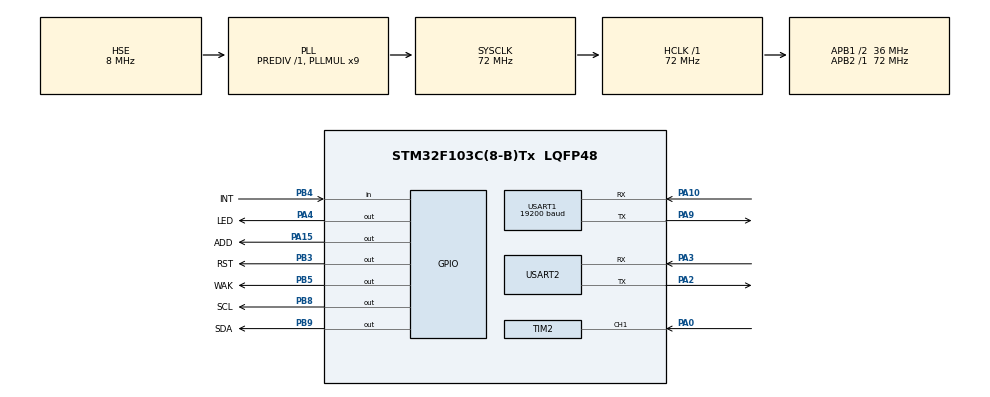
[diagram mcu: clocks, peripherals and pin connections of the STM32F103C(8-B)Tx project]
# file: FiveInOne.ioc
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FREERTOS.Tasks01=initTask,0,128,StartInitTask,Default,NULL,Dynamic,NULL,NULL
Mcu.Family=STM32F1
Mcu.Name=STM32F103C(8-B)Tx
Mcu.Package=LQFP48
NVIC.PriorityGroup=NVIC_PRIORITYGROUP_4
NVIC.TIM4_IRQn=true\:0\:0\:false\:false\:true\:false\:false
NVIC.TimeBase=TIM4_IRQn
NVIC.TimeBaseIP=TIM4
NVIC.USART1_IRQn=true\:5\:0\:false\:false\:true\:true\:true
NVIC.USART2_IRQn=true\:5\:0\:false\:false\:true\:true\:true
PA0-WKUP.Signal=S_TIM2_CH1_ETR
PA10.Mode=Asynchronous
PA10.Signal=USART1_RX
PA15.GPIO_Label=ADD
PA15.Signal=GPIO_Output
PA2.Mode=Asynchronous
PA2.Signal=USART2_TX
PA3.Mode=Asynchronous
PA3.Signal=USART2_RX
PA4.GPIO_Label=LED
PA4.Signal=GPIO_Output
PA9.Mode=Asynchronous
PA9.Signal=USART1_TX
PB3.GPIO_Label=RST
PB3.PinState=GPIO_PIN_SET
PB3.Signal=GPIO_Output
PB4.GPIO_Label=INT
PB4.Signal=GPIO_Input
PB5.GPIO_Label=WAK
PB5.Signal=GPIO_Output
PB8.GPIO_Label=SCL
PB8.GPIO_ModeDefaultOutputPP=GPIO_MODE_OUTPUT_OD
PB8.GPIO_Speed=GPIO_SPEED_FREQ_HIGH
PB8.PinState=GPIO_PIN_SET
PB8.Signal=GPIO_Output
PB9.GPIO_Label=SDA
PB9.GPIO_ModeDefaultOutputPP=GPIO_MODE_OUTPUT_OD
PB9.GPIO_Speed=GPIO_SPEED_FREQ_HIGH
PB9.PinState=GPIO_PIN_SET
PB9.Signal=GPIO_Output
PD0-OSC_IN.Mode=HSE-External-Oscillator
PD0-OSC_IN.Signal=RCC_OSC_IN
PD1-OSC_OUT.Mode=HSE-External-Oscillator
PD1-OSC_OUT.Signal=RCC_OSC_OUT
ProjectManager.HeapSize=0x200
ProjectManager.StackSize=0x400
ProjectManager.TargetToolchain=TrueSTUDIO
RCC.AHBFreq_Value=72000000
RCC.APB1CLKDivider=RCC_HCLK_DIV2
RCC.APB1Freq_Value=36000000
RCC.APB1TimFreq_Value=72000000
RCC.APB2Freq_Value=72000000
RCC.APB2TimFreq_Value=72000000
RCC.HCLKFreq_Value=72000000
RCC.PLLMUL=RCC_PLL_MUL9
RCC.PLLSourceVirtual=RCC_PLLSOURCE_HSE
RCC.SYSCLKFreq_VALUE=72000000
RCC.SYSCLKSource=RCC_SYSCLKSOURCE_PLLCLK
RCC.USBFreq_Value=72000000
SH.S_TIM2_CH1_ETR.0=TIM2_CH1,Input_Capture1_from_TI1
TIM2.Channel-Input_Capture1_from_TI1=TIM_CHANNEL_1
USART1.BaudRate=19200
USART1.VirtualMode=VM_ASYNC
USART2.VirtualMode=VM_ASYNC
VP_FREERTOS_VS_ENABLE.Mode=Enabled
VP_SYS_VS_ND.Mode=No_Debug
VP_SYS_VS_tim4.Mode=TIM4
board=FiveInOne

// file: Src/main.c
/**
  ******************************************************************************
  * File Name          : main.c
  * Description        : Main program body
  ******************************************************************************
  * This notice applies to any and all portions of this file
  * that are not between comment pairs USER CODE BEGIN and
  * USER CODE END. Other portions of this file, whether
  * inserted by the user or by software development tools
  * are owned by their respective copyright owners.
  *
  * Copyright (c) 2017 STMicroelectronics International N.V.
  * All rights reserved.
  *
  * Redistribution and use in source and binary forms, with or without
  * modification, are permitted, provided that the following conditions are met:
  *
  * 1. Redistribution of source code must retain the above copyright notice,
  *    this list of conditions and the following disclaimer.
  * 2. Redistributions in binary form must reproduce the above copyright notice,
  *    this list of conditions and the following disclaimer in the documentation
  *    and/or other materials provided with the distribution.
  * 3. Neither the name of STMicroelectronics nor the names of other
  *    contributors to this software may be used to endorse or promote products
  *    derived from this software without specific written permission.
  * 4. This software, including modifications and/or derivative works of this
  *    software, must execute solely and exclusively on microcontroller or
  *    microprocessor devices manufactured by or for STMicroelectronics.
  * 5. Redistribution and use of this software other than as permitted under
  *    this license is void and will automatically terminate your rights under
  *    this license.
  *
  * THIS SOFTWARE IS PROVIDED BY STMICROELECTRONICS AND CONTRIBUTORS "AS IS"
  * AND ANY EXPRESS, IMPLIED OR STATUTORY WARRANTIES, INCLUDING, BUT NOT
  * LIMITED TO, THE IMPLIED WARRANTIES OF MERCHANTABILITY, FITNESS FOR A
  * PARTICULAR PURPOSE AND NON-INFRINGEMENT OF THIRD PARTY INTELLECTUAL PROPERTY
  * RIGHTS ARE DISCLAIMED TO THE FULLEST EXTENT PERMITTED BY LAW. IN NO EVENT
  * SHALL STMICROELECTRONICS OR CONTRIBUTORS BE LIABLE FOR ANY DIRECT, INDIRECT,
  * INCIDENTAL, SPECIAL, EXEMPLARY, OR CONSEQUENTIAL DAMAGES (INCLUDING, BUT NOT
  * LIMITED TO, PROCUREMENT OF SUBSTITUTE GOODS OR SERVICES; LOSS OF USE, DATA,
  * OR PROFITS; OR BUSINESS INTERRUPTION) HOWEVER CAUSED AND ON ANY THEORY OF
  * LIABILITY, WHETHER IN CONTRACT, STRICT LIABILITY, OR TORT (INCLUDING
  * NEGLIGENCE OR OTHERWISE) ARISING IN ANY WAY OUT OF THE USE OF THIS SOFTWARE,
  * EVEN IF ADVISED OF THE POSSIBILITY OF SUCH DAMAGE.
  *
  ******************************************************************************
  */
#include "main.h"
#include "stm32f1xx_hal.h"
#include "cmsis_os.h"
#include "tim.h"
#include "usart.h"
#include "gpio.h"

/* USER CODE BEGIN PV */
/* Private variables ---------------------------------------------------------*/

/* USER CODE END PV */

void SystemClock_Config(void);
void MX_FREERTOS_Init(void);

/* USER CODE BEGIN PFP */
/* Private function prototypes -----------------------------------------------*/

/* USER CODE END PFP */

int main(void)
{

  /* MCU Configuration----------------------------------------------------------*/

  /* Reset of all peripherals, Initializes the Flash interface and the Systick. */
  HAL_Init();

  /* Configure the system clock */
  SystemClock_Config();

  /* Initialize all configured peripherals */
  MX_GPIO_Init();
  MX_USART2_UART_Init();
  MX_TIM2_Init();
  MX_USART1_UART_Init();

  /* Call init function for freertos objects (in freertos.c) */
  MX_FREERTOS_Init();

  /* Start scheduler */
  osKernelStart();

  /* We should never get here as control is now taken by the scheduler */

  /* Infinite loop */
  while (1)
  {

  }

}

/** System Clock Configuration
*/
void SystemClock_Config(void)
{

  RCC_OscInitTypeDef RCC_OscInitStruct;
  RCC_ClkInitTypeDef RCC_ClkInitStruct;

    /**Initializes the CPU, AHB and APB busses clocks
    */
  RCC_OscInitStruct.OscillatorType = RCC_OSCILLATORTYPE_HSE;
  RCC_OscInitStruct.HSEState = RCC_HSE_ON;
  RCC_OscInitStruct.HSEPredivValue = RCC_HSE_PREDIV_DIV1;
  RCC_OscInitStruct.HSIState = RCC_HSI_ON;
  RCC_OscInitStruct.PLL.PLLState = RCC_PLL_ON;
  RCC_OscInitStruct.PLL.PLLSource = RCC_PLLSOURCE_HSE;
  RCC_OscInitStruct.PLL.PLLMUL = RCC_PLL_MUL9;
  if (HAL_RCC_OscConfig(&RCC_OscInitStruct) != HAL_OK)
  {
    _Error_Handler(__FILE__, __LINE__);
  }

    /**Initializes the CPU, AHB and APB busses clocks
    */
  RCC_ClkInitStruct.ClockType = RCC_CLOCKTYPE_HCLK|RCC_CLOCKTYPE_SYSCLK
                              |RCC_CLOCKTYPE_PCLK1|RCC_CLOCKTYPE_PCLK2;
  RCC_ClkInitStruct.SYSCLKSource = RCC_SYSCLKSOURCE_PLLCLK;
  RCC_ClkInitStruct.AHBCLKDivider = RCC_SYSCLK_DIV1;
  RCC_ClkInitStruct.APB1CLKDivider = RCC_HCLK_DIV2;
  RCC_ClkInitStruct.APB2CLKDivider = RCC_HCLK_DIV1;

  if (HAL_RCC_ClockConfig(&RCC_ClkInitStruct, FLASH_LATENCY_2) != HAL_OK)
  {
    _Error_Handler(__FILE__, __LINE__);
  }

    /**Configure the Systick interrupt time
    */
  HAL_SYSTICK_Config(HAL_RCC_GetHCLKFreq()/1000);

    /**Configure the Systick
    */
  HAL_SYSTICK_CLKSourceConfig(SYSTICK_CLKSOURCE_HCLK);

  /* SysTick_IRQn interrupt configuration */
  HAL_NVIC_SetPriority(SysTick_IRQn, 15, 0);
}

void HAL_TIM_PeriodElapsedCallback(TIM_HandleTypeDef *htim)
{
  if (htim->Instance == TIM4) {
    HAL_IncTick();
  }
}

void _Error_Handler(char * file, int line)
{
  while(1)
  {
  }
}

/************************ (C) COPYRIGHT STMicroelectronics *****END OF FILE****/

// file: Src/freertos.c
/**
  ******************************************************************************
  * File Name          : freertos.c
  * Description        : Code for freertos applications
  ******************************************************************************
  * This notice applies to any and all portions of this file
  * that are not between comment pairs USER CODE BEGIN and
  * USER CODE END. Other portions of this file, whether
  * inserted by the user or by software development tools
  * are owned by their respective copyright owners.
  *
  * Copyright (c) 2017 STMicroelectronics International N.V.
  * All rights reserved.
  *
  * Redistribution and use in source and binary forms, with or without
  * modification, are permitted, provided that the following conditions are met:
  *
  * 1. Redistribution of source code must retain the above copyright notice,
  *    this list of conditions and the following disclaimer.
  * 2. Redistributions in binary form must reproduce the above copyright notice,
  *    this list of conditions and the following disclaimer in the documentation
  *    and/or other materials provided with the distribution.
  * 3. Neither the name of STMicroelectronics nor the names of other
  *    contributors to this software may be used to endorse or promote products
  *    derived from this software without specific written permission.
  * 4. This software, including modifications and/or derivative works of this
  *    software, must execute solely and exclusively on microcontroller or
  *    microprocessor devices manufactured by or for STMicroelectronics.
  * 5. Redistribution and use of this software other than as permitted under
  *    this license is void and will automatically terminate your rights under
  *    this license.
  *
  * THIS SOFTWARE IS PROVIDED BY STMICROELECTRONICS AND CONTRIBUTORS "AS IS"
  * AND ANY EXPRESS, IMPLIED OR STATUTORY WARRANTIES, INCLUDING, BUT NOT
  * LIMITED TO, THE IMPLIED WARRANTIES OF MERCHANTABILITY, FITNESS FOR A
  * PARTICULAR PURPOSE AND NON-INFRINGEMENT OF THIRD PARTY INTELLECTUAL PROPERTY
  * RIGHTS ARE DISCLAIMED TO THE FULLEST EXTENT PERMITTED BY LAW. IN NO EVENT
  * SHALL STMICROELECTRONICS OR CONTRIBUTORS BE LIABLE FOR ANY DIRECT, INDIRECT,
  * INCIDENTAL, SPECIAL, EXEMPLARY, OR CONSEQUENTIAL DAMAGES (INCLUDING, BUT NOT
  * LIMITED TO, PROCUREMENT OF SUBSTITUTE GOODS OR SERVICES; LOSS OF USE, DATA,
  * OR PROFITS; OR BUSINESS INTERRUPTION) HOWEVER CAUSED AND ON ANY THEORY OF
  * LIABILITY, WHETHER IN CONTRACT, STRICT LIABILITY, OR TORT (INCLUDING
  * NEGLIGENCE OR OTHERWISE) ARISING IN ANY WAY OUT OF THE USE OF THIS SOFTWARE,
  * EVEN IF ADVISED OF THE POSSIBILITY OF SUCH DAMAGE.
  *
  ******************************************************************************
  */

#include "FreeRTOS.h"
#include "task.h"
#include "cmsis_os.h"

/* USER CODE BEGIN Includes */
#include "stm32f1xx_hal.h"
#include "cmsis_os.h"
#include "myPrintf.h"
#include "ccs811.h"
#include "hdc1080.h"
#include "usart.h"
#include "dataProcessing.h"
#include "modbusToPC.h"
/* USER CODE END Includes */

osThreadId initTaskHandle;

/* USER CODE BEGIN Variables */

osThreadId getDataTaskHandle;
osThreadId modbusTaskHandle;
/* USER CODE END Variables */

void StartInitTask(void const * argument);

void MX_FREERTOS_Init(void); /* (MISRA C 2004 rule 8.1) */

/* USER CODE BEGIN FunctionPrototypes */

void StartGetDataTask(void const * argument);
void StartModbusTask(void const * argument);

/* USER CODE END FunctionPrototypes */

/* Hook prototypes */

/* Init FreeRTOS */

void MX_FREERTOS_Init(void) {

  /* Create the thread(s) */
  /* definition and creation of initTask */
  osThreadDef(initTask, StartInitTask, osPriorityNormal, 0, 128);
  initTaskHandle = osThreadCreate(osThread(initTask), NULL);

}

/* StartInitTask function */
void StartInitTask(void const * argument)
{

  /* USER CODE BEGIN StartInitTask */
  /* Infinite loop */

	ccs811Init();
	HDC1080_Init();

	osThreadDef(getDataTask, StartGetDataTask, osPriorityNormal, 0, 128);
	getDataTaskHandle = osThreadCreate(osThread(getDataTask), NULL);

	osThreadDef(modbusTask, StartModbusTask, osPriorityNormal, 0, 128);
	modbusTaskHandle = osThreadCreate(osThread(modbusTask), NULL);

	osThreadTerminate(initTaskHandle);

  /* USER CODE END StartInitTask */
}

/* USER CODE BEGIN Application */

void StartGetDataTask(void const * argument) {
	for (;;)
	{
		osDelay(500);
		//HAL_GPIO_TogglePin(GPIOA, GPIO_PIN_4);
		getCcs811();
		getHdc1080();
		dataProcessing();
	}
}

void StartModbusTask(void const * argument) {
	for (;;)
	{
		osDelay(10);
		modbusSlave();
	}
}

/* USER CODE END Application */

/************************ (C) COPYRIGHT STMicroelectronics *****END OF FILE****/
